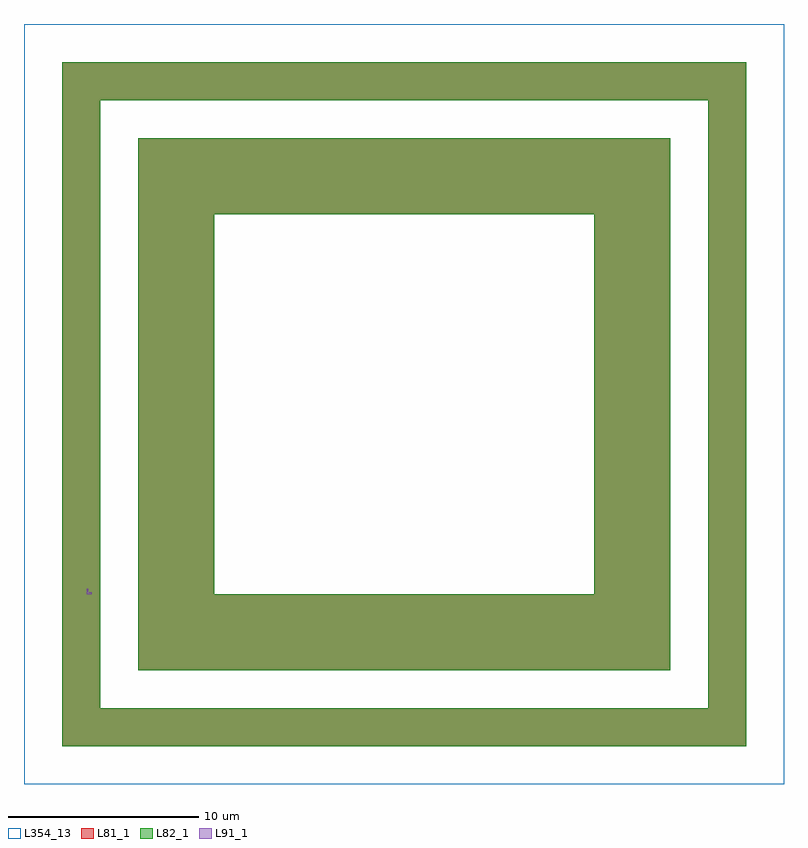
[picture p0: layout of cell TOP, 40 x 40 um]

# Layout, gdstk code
import gdstk
lib = gdstk.Library(unit=1e-6, precision=1e-09)
def R(c, l, rs):  # rectangles x0, y0, x1, y1
    for r in rs: c.add(gdstk.rectangle(r[:2], r[2:], *l))
def P(c, l, *ps):  # polygons
    for p in ps: c.add(gdstk.Polygon(p, *l))
L81_1 = (81, 1)
L82_1 = (82, 1)
L91_1 = (91, 1)
L354_13 = (354, 13)

top = lib.new_cell('TOP')
R(top, L81_1, [(2,2,38,4), (2,4,4,36), (36,4,38,36), (6,6,34,10), (6,10,10,30), (30,10,34,30), (6,30,34,34), (2,36,38,38)])
R(top, L82_1, [(2,2,38,4), (2,4,4,36), (36,4,38,36), (6,6,34,10), (6,10,10,30), (30,10,34,30), (6,30,34,34), (2,36,38,38)])
P(top, L91_1, [(3.3,10),(3.3,10.27),(3.38,10.27),(3.38,10.09),(3.57,10.09),(3.57,10)])
R(top, L354_13, [(0,0,40,40)])

lib.write_gds('TOP.gds')
